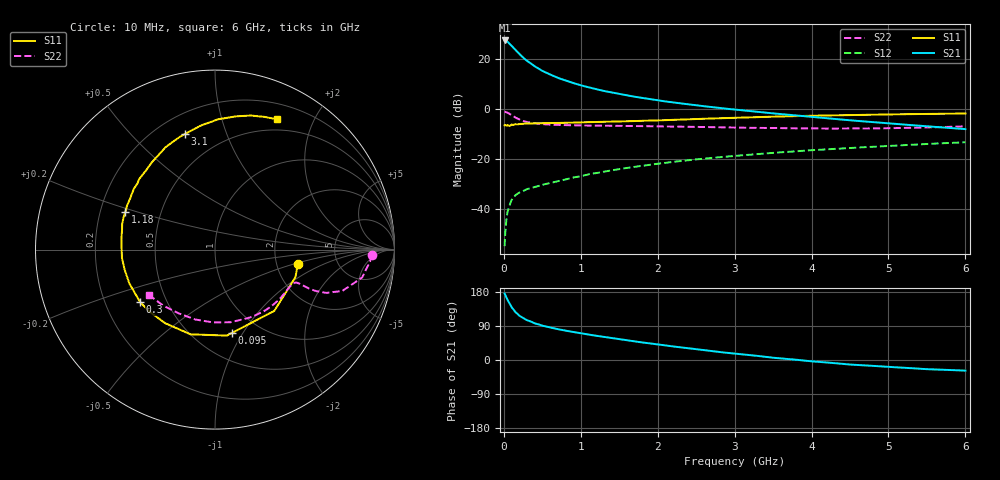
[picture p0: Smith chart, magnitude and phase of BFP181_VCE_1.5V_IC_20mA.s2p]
! Infineon Technologies  Discrete & RF Semiconductors
! BFP181
! VCE = 1.5 V,  IC =  20 mA
! Common Emitter S-Parameters:  Jan 2016
# GHz  S  MA  R  50
!  f  S11  S21  S12  S22
! GHz  MAG  ANG  MAG  ANG  MAG  ANG  MAG  ANG
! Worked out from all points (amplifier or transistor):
!   210 points, 10 MHz to 6 GHz, reference 50 ohm
!   highest |S21| = 27.3 dB at 10 MHz (marker M1)
!   |S21| within 3 dB of that: start of sweep to 127.3 MHz
!   unconditionally stable (mu >= 1): start of sweep to 25.09 MHz; 263.4 MHz to end of sweep
!   at 185 MHz: K = 0.79, MSG = 28.1 dB, |S12| = -33.8 dB
!   at 1.52 GHz: K = 2.03, MAG = 9.1 dB, |S12| = -24.0 dB
!   at 6 GHz: K = 1.63, MAG = -2.0 dB, |S12| = -13.4 dB
!   S11 on the Smith chart (normalised r, x): 10 MHz: 2.63, -0.54; 95 MHz: 0.75, -0.90; 300 MHz: 0.35, -0.28; 1.18 GHz: 0.31, +0.18; 3.1 GHz: 0.31, +0.73; 6 GHz: 0.37, +1.52
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0.01  0.468 -9.9  23.14 175.3  0.0018 74.1  0.8744 -1.9
0.02  0.4739 -18.8  23.01 170.9  0.0036 80.6  0.8663 -4.4
0.05  0.4751 -45.9  21.76 157.4  0.009 75.2  0.8341 -10.8
0.095  0.4744 -78.7  18.49 141.5  0.0144 59.2  0.754 -17.2
0.1  0.4836 -82.1  18.24 139.4  0.015 58.2  0.7457 -18.0
0.15  0.4914 -106.1  15.03 126.4  0.0188 51.2  0.6676 -21.2
0.2  0.4953 -124.2  12.5 117.1  0.0211 48.7  0.6101 -22.3
0.26  0.5024 -137.6  10.23 109.3  0.0231 45.8  0.5642 -22.5
0.3  0.5096 -144.8  9.098 105.2  0.0248 46.0  0.5438 -22.3
0.4  0.5132 -158.5  7.063 96.8  0.0272 46.7  0.5114 -21.9
0.5  0.5159 -168.0  5.707 90.7  0.0303 47.6  0.4928 -22.0
0.6  0.5205 -174.9  4.846 85.8  0.0329 50.1  0.4819 -22.4
0.7  0.5206 179.1  4.147 81.4  0.0355 51.4  0.4754 -23.3
0.8  0.5247 173.8  3.669 77.5  0.0386 52.2  0.4712 -24.1
1.02  0.5371 163.8  2.885 69.7  0.0457 54.5  0.4637 -27.0
1.18  0.5414 157.3  2.505 64.6  0.0513 55.1  0.4604 -29.4
1.5  0.557 146.4  1.978 54.8  0.0622 55.5  0.4552 -34.5
2.02  0.5861 130.6  1.455 40.6  0.0804 54.0  0.4458 -44.2
3.1  0.666 104.4  0.931 15.0  0.1177 47.2  0.4187 -67.8
4.1  0.7305 87.0  0.669 -5.0  0.1518 39.0  0.4038 -94.2
5.1  0.7755 74.0  0.496 -19.3  0.1842 30.6  0.4102 -122.3
6  0.8039 64.6  0.392 -28.1  0.2142 22.0  0.4463 -145.5
